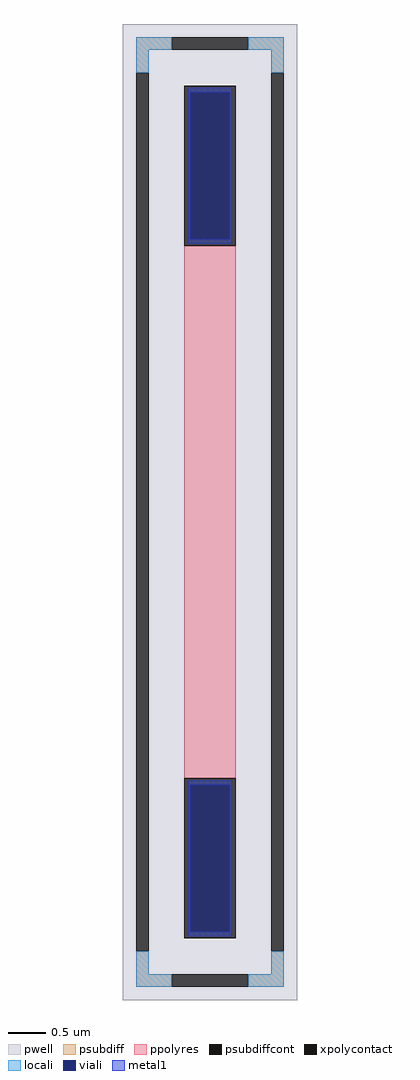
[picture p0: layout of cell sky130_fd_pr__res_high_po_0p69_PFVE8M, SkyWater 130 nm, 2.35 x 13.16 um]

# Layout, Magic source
magic
tech sky130A
magscale 1 2
<< pwell >>
rect -235 -1316 235 1316
<< psubdiff >>
rect -199 1246 -103 1280
rect 103 1246 199 1280
rect -199 1184 -165 1246
rect 165 1184 199 1246
rect -199 -1246 -165 -1184
rect 165 -1246 199 -1184
rect -199 -1280 -103 -1246
rect 103 -1280 199 -1246
<< psubdiffcont >>
rect -103 1246 103 1280
rect -199 -1184 -165 1184
rect 165 -1184 199 1184
rect -103 -1280 103 -1246
<< xpolycontact >>
rect -69 718 69 1150
rect -69 -1150 69 -718
<< ppolyres >>
rect -69 -718 69 718
<< locali >>
rect -199 1246 -103 1280
rect 103 1246 199 1280
rect -199 1184 -165 1246
rect 165 1184 199 1246
rect -199 -1246 -165 -1184
rect 165 -1246 199 -1184
rect -199 -1280 -103 -1246
rect 103 -1280 199 -1246
<< viali >>
rect -53 735 53 1132
rect -53 -1132 53 -735
<< metal1 >>
rect -59 1132 59 1144
rect -59 735 -53 1132
rect 53 735 59 1132
rect -59 723 59 735
rect -59 -735 59 -723
rect -59 -1132 -53 -735
rect 53 -1132 59 -735
rect -59 -1144 59 -1132
<< properties >>
string FIXED_BBOX -182 -1263 182 1263
string gencell sky130_fd_pr__res_high_po_0p69
string library sky130
string parameters w 0.690 l 7.34 m 1 nx 1 wmin 0.690 lmin 0.50 rho 319.8 val 3.966k dummy 0 dw 0.0 term 194.82 sterm 0.0 caplen 0 guard 1 glc 1 grc 1 gtc 1 gbc 1 compatible {sky130_fd_pr__res_high_po_0p35  sky130_fd_pr__res_high_po_0p69 sky130_fd_pr__res_high_po_1p41  sky130_fd_pr__res_high_po_2p85 sky130_fd_pr__res_high_po_5p73} snake 0 full_metal 1 wmax 0.690 n_guard 0 hv_guard 0 vias 1 viagb 0 viagt 0 viagl 0 viagr 0
<< end >>
